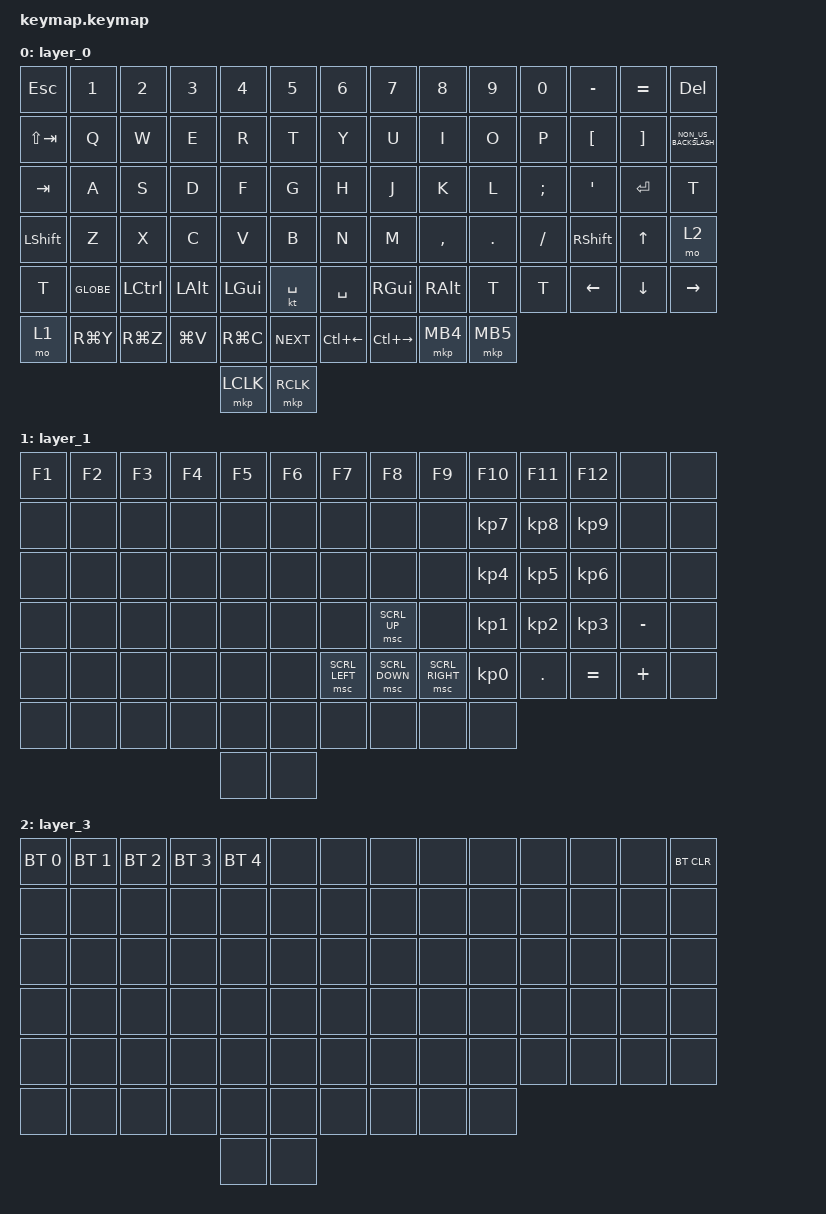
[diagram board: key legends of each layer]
#include <behaviors.dtsi>
#include <dt-bindings/zmk/bt.h>
#include <dt-bindings/zmk/keys.h>
#include <dt-bindings/zmk/pointing.h>

/ {
    keymap {
        compatible = "zmk,keymap";

        layer_0 {
            bindings = <
&kp ESCAPE      &kp NUMBER_1  &kp NUMBER_2      &kp NUMBER_3  &kp NUMBER_4  &kp N5      &kp NUMBER_6  &kp N7               &kp N8     &kp N9      &kp N0         &kp MINUS         &kp EQUAL          &kp DELETE
&kp LS(TAB)     &kp Q         &kp W             &kp E         &kp R         &kp T       &kp Y         &kp U                &kp I      &kp O       &kp P          &kp LEFT_BRACKET  &kp RIGHT_BRACKET  &kp NON_US_BACKSLASH
&kp TAB         &kp A         &kp S             &kp D         &kp F         &kp G       &kp H         &kp J                &kp K      &kp L       &kp SEMICOLON  &kp SQT           &kp RETURN         &kp T
&kp LEFT_SHIFT  &kp Z         &kp X             &kp C         &kp V         &kp B       &kp N         &kp M                &kp COMMA  &kp PERIOD  &kp SLASH      &kp RSHIFT        &kp UP_ARROW       &mo 2
&kp T           &kp GLOBE     &kp LEFT_CONTROL  &kp LALT      &kp LGUI      &kt SPACE   &kp SPACE     &kp RGUI             &kp RALT   &kp T       &kp T          &kp LEFT          &kp DOWN_ARROW     &kp RIGHT
&mo 1           &kp RG(Y)     &kp RG(Z)         &kp LG(V)     &kp RG(C)     &kp K_NEXT  &kp LC(LEFT)  &kp LC(RIGHT_ARROW)  &mkp MB4   &mkp MB5
                                                              &mkp LCLK     &mkp RCLK
            >;
        };

        layer_1 {
            bindings = <
&kp F1  &kp F2  &kp F3  &kp F4  &kp F5  &kp F6  &kp F7          &kp F8          &kp F9           &kp F10          &kp F11          &kp F12          &none      &none
&none   &none   &none   &none   &none   &none   &none           &none           &none            &kp KP_NUMBER_7  &kp KP_NUMBER_8  &kp KP_NUMBER_9  &none      &none
&none   &none   &none   &none   &none   &none   &none           &none           &none            &kp KP_NUMBER_4  &kp KP_NUMBER_5  &kp KP_NUMBER_6  &none      &none
&none   &none   &none   &none   &none   &none   &none           &msc SCRL_UP    &none            &kp KP_NUMBER_1  &kp KP_NUMBER_2  &kp KP_NUMBER_3  &kp MINUS  &none
&none   &none   &none   &none   &none   &none   &msc SCRL_LEFT  &msc SCRL_DOWN  &msc SCRL_RIGHT  &kp KP_NUMBER_0  &kp PERIOD       &kp EQUAL        &kp PLUS   &none
&none   &none   &none   &none   &none   &none   &none           &none           &none            &none
                                &none   &none
            >;
        };

        layer_3 {
            bindings = <
&bt BT_SEL 0  &bt BT_SEL 1  &bt BT_SEL 2  &bt BT_SEL 3  &bt BT_SEL 4  &none  &none  &none  &none  &none  &none  &none  &none  &bt BT_CLR
&none         &none         &none         &none         &none         &none  &none  &none  &none  &none  &none  &none  &none  &none
&none         &none         &none         &none         &none         &none  &none  &none  &none  &none  &none  &none  &none  &none
&none         &none         &none         &none         &none         &none  &none  &none  &none  &none  &none  &none  &none  &none
&none         &none         &none         &none         &none         &none  &none  &none  &none  &none  &none  &none  &none  &none
&none         &none         &none         &none         &none         &none  &none  &none  &none  &none
                                                        &none         &none
            >;
        };
    };
};
